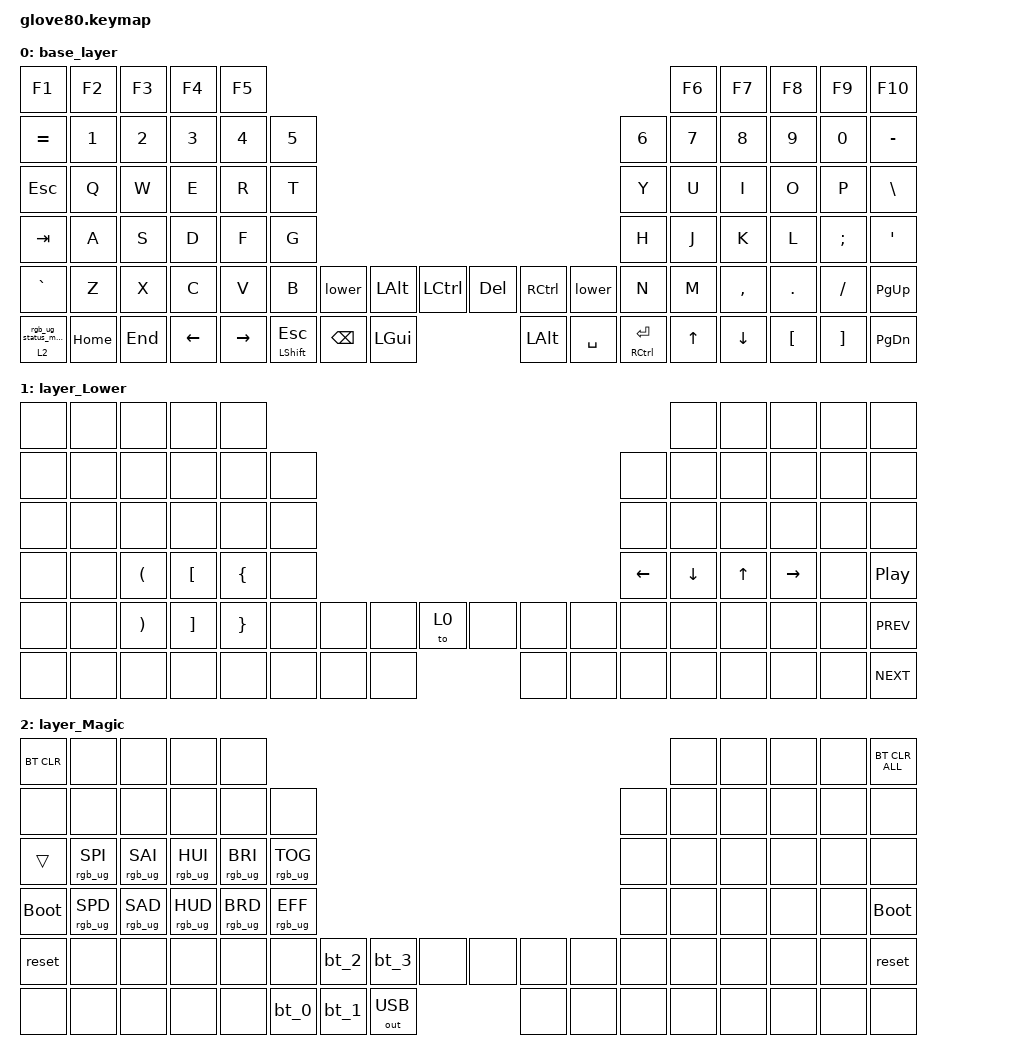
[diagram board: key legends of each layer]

/*
 * Copyright (c) 2020 The ZMK Contributors
 * Copyright (c) 2022 Innaworks Development Limited, trading as MoErgo
 *
 * SPDX-License-Identifier: MIT
 */


/* THIS FILE WAS GENERATED BY GLOVE80 LAYOUT EDITOR
 *
 * This file was generated automatically. You may or may not want to
 * edit it directly.
 */

#include <behaviors.dtsi>
/* Include all behaviour includes needed by system behaviors/macros */
#include <dt-bindings/zmk/outputs.h>

/* Include behaviour includes needed by key binds - automatically generated */
#include <dt-bindings/zmk/keys.h>
#include <dt-bindings/zmk/bt.h>
#include <dt-bindings/zmk/rgb.h>
#include <dt-bindings/zmk/outputs.h>


/ {
    /* Glove80 system behavior & macros */
    behaviors {
        // For the "layer" key, it'd nice to be able to use it as either a shift or a toggle.
        // Configure it as a tap dance, so the first tap (or hold) is a &mo and the second tap is a &to
        lower: tap_dance_0 {
            compatible = "zmk,behavior-tap-dance";
            label = "LAYER_TAP_DANCE";
            #binding-cells = <0>;
            tapping-term-ms = <200>;
            bindings = <&mo 1>, <&to 1>;
        };
    };

    macros {
        rgb_ug_status_macro: rgb_ug_status_macro_0 {
            label = "RGB_UG_STATUS";
            compatible = "zmk,behavior-macro";
            #binding-cells = <0>;
            bindings
                = <&rgb_ug RGB_STATUS>;
        };
    };

    macros {
        bt_0: bt_profile_macro_0 {
            label = "BT_0";
            compatible = "zmk,behavior-macro";
            #binding-cells = <0>;
            bindings
                = <&out OUT_BLE>,
                  <&bt BT_SEL 0>;
        };
    };

    macros {
        bt_1: bt_profile_macro_1 {
            label = "BT_1";
            compatible = "zmk,behavior-macro";
            #binding-cells = <0>;
            bindings
                = <&out OUT_BLE>,
                  <&bt BT_SEL 1>;
        };
    };

    macros {
        bt_2: bt_profile_macro_2 {
            label = "BT_2";
            compatible = "zmk,behavior-macro";
            #binding-cells = <0>;
            bindings
                = <&out OUT_BLE>,
                  <&bt BT_SEL 2>;
        };
    };

    macros {
        bt_3: bt_profile_macro_3 {
            label = "BT_3";
            compatible = "zmk,behavior-macro";
            #binding-cells = <0>;
            bindings
                = <&out OUT_BLE>,
                  <&bt BT_SEL 3>;
        };
    };

    magic: magic_hold_tap {
        compatible = "zmk,behavior-hold-tap";
        label = "MAGIC_HOLD_TAP";
        #binding-cells = <2>;
        flavor = "tap-preferred";
        tapping-term-ms = <200>;
        bindings = <&mo>, <&rgb_ug_status_macro>;
    };

    /* Custom Defined Behaviors */


    /* Automatically generated keymap */
    keymap {
        compatible = "zmk,keymap";

        /** original base layer
        base_layer {
            bindings = <
     &kp F1    &kp F2   &kp F3    &kp F4     &kp F5                                                                                  &kp F6     &kp F7    &kp F8    &kp F9    &kp F10
  &kp EQUAL    &kp N1   &kp N2    &kp N3     &kp N4  &kp N5                                                                  &kp N6  &kp N7     &kp N8    &kp N9    &kp N0  &kp MINUS
    &kp TAB     &kp Q    &kp W     &kp E      &kp R   &kp T                                                                   &kp Y   &kp U      &kp I     &kp O     &kp P   &kp BSLH
    &kp ESC     &kp A    &kp S     &kp D      &kp F   &kp G                                                                   &kp H   &kp J      &kp K     &kp L  &kp SEMI    &kp SQT
  &kp GRAVE     &kp Z    &kp X     &kp C      &kp V   &kp B  &kp LSHFT  &kp LCTRL    &lower  &kp LGUI  &kp RCTRL  &kp RSHFT   &kp N   &kp M  &kp COMMA   &kp DOT  &kp FSLH  &kp PG_UP
 &magic 2 0  &kp HOME  &kp END  &kp LEFT  &kp RIGHT           &kp BSPC    &kp DEL  &kp LALT  &kp RALT    &kp RET  &kp SPACE          &kp UP   &kp DOWN  &kp LBKT  &kp RBKT  &kp PG_DN
            >;
        };
        */

        base_layer {
            bindings = <
     &kp F1    &kp F2   &kp F3    &kp F4     &kp F5                                                                                  &kp F6     &kp F7    &kp F8    &kp F9    &kp F10
  &kp EQUAL    &kp N1   &kp N2    &kp N3     &kp N4  &kp N5                                                                  &kp N6  &kp N7     &kp N8    &kp N9    &kp N0  &kp MINUS
    &kp ESC     &kp Q    &kp W     &kp E      &kp R   &kp T                                                                   &kp Y   &kp U      &kp I     &kp O     &kp P   &kp BSLH
    &kp TAB     &kp A    &kp S     &kp D      &kp F   &kp G                                                                   &kp H   &kp J      &kp K     &kp L  &kp SEMI    &kp SQT
  &kp GRAVE     &kp Z    &kp X     &kp C      &kp V   &kp B   &lower  &kp LALT  &kp LCTRL  &kp DEL  &kp RCTRL  &lower         &kp N   &kp M  &kp COMMA   &kp DOT  &kp FSLH  &kp PG_UP
 &magic 2 0  &kp HOME  &kp END  &kp LEFT  &kp RIGHT           &mt LSHFT ESC  &kp BSPC  &kp LGUI  &kp LALT &kp SPACE &mt RCTRL RET   &kp UP   &kp DOWN  &kp LBKT  &kp RBKT  &kp PG_DN
            >;
        };

        /** this is a None layer that serves as a template layer for new ones */
        /*
        layer_None {
            bindings = <
       &none     &none     &none     &none     &none                                                                       &none     &none     &none     &none     &none
       &none     &none     &none     &none     &none     &none                                                   &none     &none     &none     &none     &none     &none
       &none     &none     &none     &none     &none     &none                                                   &none     &none     &none     &none     &none     &none
       &none     &none     &none     &none     &none     &none                                                   &none     &none     &none     &none     &none     &none
       &none     &none     &none     &none     &none     &none    &none   &none   &to 0  &none  &none  &none     &none     &none     &none     &none     &none     &none
       &none     &none     &none     &none     &none              &none   &none   &none  &none  &none  &none               &none     &none     &none     &none     &none
            >;
        };
        */

        layer_Lower {
            bindings = <
       &none  &none  &none                 &none             &none                                                                           &none         &none           &none            &none  &none
       &none  &none  &none                 &none             &none           &none                                           &none           &none         &none           &none            &none  &none
       &none  &none  &none                 &none             &none           &none                                           &none           &none         &none           &none            &none  &none
       &none  &none  &kp LEFT_PARENTHESIS  &kp LEFT_BRACKET  &kp LEFT_BRACE  &none                                           &kp LEFT_ARROW  &kp DOWN_ARROW  &kp UP_ARROW  &kp RIGHT_ARROW  &none  &kp C_PLAY_PAUSE
       &none  &none  &kp RIGHT_PARENTHESIS &kp RIGHT_BRACKET &kp RIGHT_BRACE &none  &none &none  &to 0  &none  &none  &none  &none           &none         &none           &none            &none  &kp C_PREV
       &none  &none  &none                 &none             &none                  &none  &none &none  &none  &none  &none                  &none         &none           &none            &none  &kp C_NEXT
            >;
        };

//         layer_Lower {
//             bindings = <
//  &kp C_BRI_DN  &kp C_BRI_UP      &kp C_PREV      &kp C_NEXT         &kp C_PP                                                                                    &kp C_MUTE  &kp C_VOL_DN  &kp C_VOL_UP            &none  &kp PAUSE_BREAK
//        &trans         &none           &none           &none            &none   &kp HOME                                                   &kp LEFT_PARENTHESIS  &kp KP_NUM  &kp KP_EQUAL  &kp KP_SLASH  &kp KP_MULTIPLY  &kp PRINTSCREEN
//        &trans         &none           &none    &kp UP_ARROW            &none    &kp END                                                  &kp RIGHT_PARENTHESIS   &kp KP_N7     &kp KP_N8     &kp KP_N9     &kp KP_MINUS   &kp SCROLLLOCK
//        &trans         &none  &kp LEFT_ARROW  &kp DOWN_ARROW  &kp RIGHT_ARROW  &kp PG_UP                                                            &kp PERCENT   &kp KP_N4     &kp KP_N5     &kp KP_N6      &kp KP_PLUS            &none
//        &trans     &kp K_APP           &none         &kp F11          &kp F12  &kp PG_DN  &trans  &trans   &to 0  &trans  &trans  &trans              &kp COMMA   &kp KP_N1     &kp KP_N2     &kp KP_N3     &kp KP_ENTER           &trans
//    &magic 2 0      &kp CAPS         &kp INS         &kp F11          &kp F12             &trans  &trans  &trans  &trans  &trans  &trans                          &kp KP_N0     &kp KP_N0    &kp KP_DOT     &kp KP_ENTER           &trans
//             >;
//         };

        layer_Magic {
            bindings = <
  &bt BT_CLR            &none            &none            &none            &none                                                                                  &none   &none   &none   &none  &bt BT_CLR_ALL
       &none            &none            &none            &none            &none            &none                                                         &none   &none   &none   &none   &none           &none
      &trans  &rgb_ug RGB_SPI  &rgb_ug RGB_SAI  &rgb_ug RGB_HUI  &rgb_ug RGB_BRI  &rgb_ug RGB_TOG                                                         &none   &none   &none   &none   &none           &none
 &bootloader  &rgb_ug RGB_SPD  &rgb_ug RGB_SAD  &rgb_ug RGB_HUD  &rgb_ug RGB_BRD  &rgb_ug RGB_EFF                                                         &none   &none   &none   &none   &none     &bootloader
      &reset            &none            &none            &none            &none            &none   &bt_2   &bt_3         &none   &none   &none   &none   &none   &none   &none   &none   &none          &reset
       &none            &none            &none            &none            &none                    &bt_0   &bt_1  &out OUT_USB   &none   &none   &none           &none   &none   &none   &none           &none
            >;
        };

    };
};
